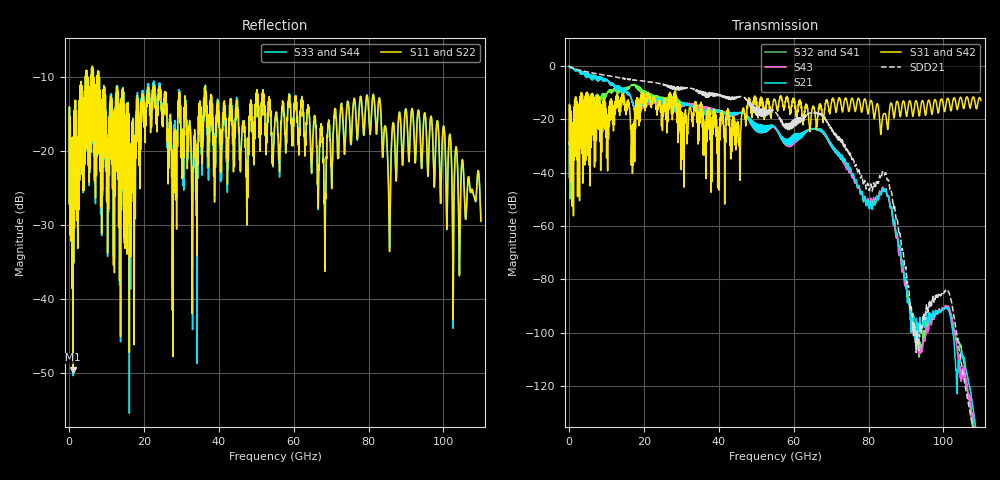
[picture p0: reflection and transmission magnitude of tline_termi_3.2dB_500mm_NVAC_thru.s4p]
!4 port subset of full cascaded channels using these ports:3 1 4 2
# Hz S RI R 50
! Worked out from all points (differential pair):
!   11000 points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, 10 MHz to 110 GHz, reference 50 ohm
!   strongest paths, dB at 10 MHz, 27.51 GHz, 55.01 GHz, 82.51 GHz, 110 GHz:
!     S31: -29.4, -12.9, -12.9, -14.7, -13.0
!     S42: -29.4, -12.9, -12.9, -14.7, -13.0
!     S21: -0.2, -15.4, -23.0, -50.3, -
!     S43: -0.2, -15.4, -23.5, -49.9, -
!     S32: -41.9, -13.5, -23.2, -50.0, -
!     S41: -41.9, -13.5, -23.2, -50.1, -
!   taken as a pair (ports 1,3 in; 2,4 out), SDD21 dB: -0.1, -8.4, -17.2, -44.0, -
!   lowest |S11| = -49.5 dB at 1.01 GHz (marker M1), VSWR 1.01, Z = 49.7 + j0.00706 ohm
!   |S11| at or under -10 dB: start of sweep to 4.35 GHz; 6.501 GHz to 7.406 GHz (905.1 MHz wide, 13 % of centre); 7.909 GHz to end of sweep (the widest 3 of 12)
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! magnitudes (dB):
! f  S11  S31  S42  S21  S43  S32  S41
! 10 MHz  -27.1  -29.4  -29.4  -0.2  -0.2  -41.9  -41.9
! 1.01 GHz  -49.5  -25.7  -25.7  -0.9  -0.9  -22.6  -22.6
! 17.18 GHz  -22.5  -28.1  -28.1  -14.5  -15.0  -7.0  -7.0
! 66.92 GHz  -18.6  -15.2  -15.2  -23.8  -24.0  -23.9  -23.9
! 84.82 GHz  -18.0  -20.7  -20.7  -47.8  -47.9  -47.8  -47.7
! 89.95 GHz  -14.3  -17.6  -17.6  -79.9  -81.9  -80.6  -80.6
! 110 GHz  -29.5  -13.0  -13.0  -  -  -  -
